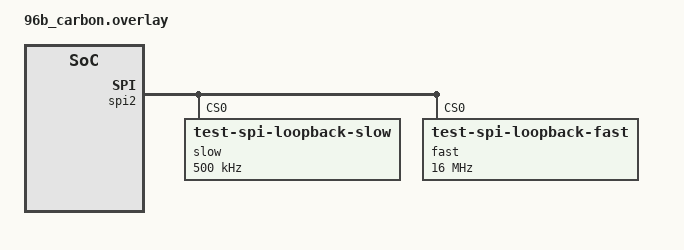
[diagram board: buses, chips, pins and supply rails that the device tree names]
/*
 * Copyright (c) 2022 Kumar Gala <galak@kernel.org>
 *
 * SPDX-License-Identifier: Apache-2.0
 */

&spi2 {
	slow@0 {
		compatible = "test-spi-loopback-slow";
		reg = <0>;
		spi-max-frequency = <500000>;
	};
	fast@0 {
		compatible = "test-spi-loopback-fast";
		reg = <0>;
		spi-max-frequency = <16000000>;
	};
};
